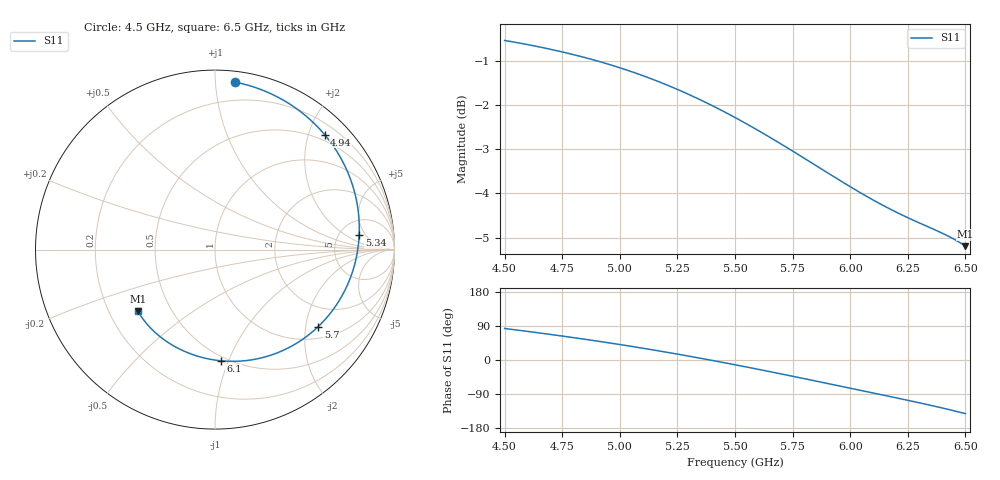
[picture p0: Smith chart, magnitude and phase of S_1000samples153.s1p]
! TOUCHSTONE file generated by CST MICROWAVE STUDIO
! Date and time: Thu Oct 27 04:27:25 2022
! Project name: L.cst
! Parameters = {Di=1.27; Epsilon_r=1.56; InnerDiameter=1.27; Length=2; Lf=10; Lg=60; OuterConductorThickness=0.2921; OuterDiameter=3.6; Wf=3; Wp=41.2; de=1.5; df=6.8; g=0.8; gx=1.21217; gy=2.73915; h=2.34; hf=1.524; px=8.47776; py=11.9877; w=9.7; wx=7.26559; wy=9.24857}
! Header version: 2018
! Port assignment regex: !\s*Touchstone port\s*([0-9]+)\s*=\s*(CST MWS port|CST DS port)\s*([0-9]+|Zmin|Zmax)\s*\(\"(.*)\"\)(\s*mode\s*([0-9]+))?.*
! Touchstone port assignment:
! Touchstone port 1 = CST MWS port 1 ("")
# GHz S DB R 50
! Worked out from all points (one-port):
!   101 points, 4.5 GHz to 6.5 GHz, reference 50 ohm
!   lowest |S11| = -5.2 dB at 6.5 GHz (marker M1), VSWR 3.44, Z = 16.1 - j15.8 ohm
!   |S11| at or under -10 dB: nowhere
!   S11 on the Smith chart (normalised r, x): 4.5 GHz: 0.07, +1.13; 4.94 GHz: 0.38, +2.28; 5.34 GHz: 7.70, +3.57; 5.7 GHz: 1.33, -2.35; 6.1 GHz: 0.47, -0.94; 6.5 GHz: 0.32, -0.32
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4.5  -0.54 83.1
4.58  -0.61 77.0
4.64  -0.67 72.2
4.76  -0.81 62.4
4.84  -0.91 55.4
4.94  -1.06 46.4
5  -1.16 40.8
5.08  -1.30 33.0
5.14  -1.41 27.0
5.2  -1.54 20.8
5.26  -1.67 14.5
5.34  -1.86 5.7
5.42  -2.06 -3.3
5.5  -2.28 -12.6
5.6  -2.57 -24.5
5.7  -2.88 -36.7
5.76  -3.07 -44.2
5.82  -3.27 -51.7
5.88  -3.46 -59.3
5.94  -3.66 -66.9
6  -3.85 -74.5
6.1  -4.15 -87.2
6.18  -4.37 -97.4
6.26  -4.58 -107.7
6.32  -4.72 -115.7
6.38  -4.85 -123.9
6.44  -5.01 -132.5
6.5  -5.20 -141.6
